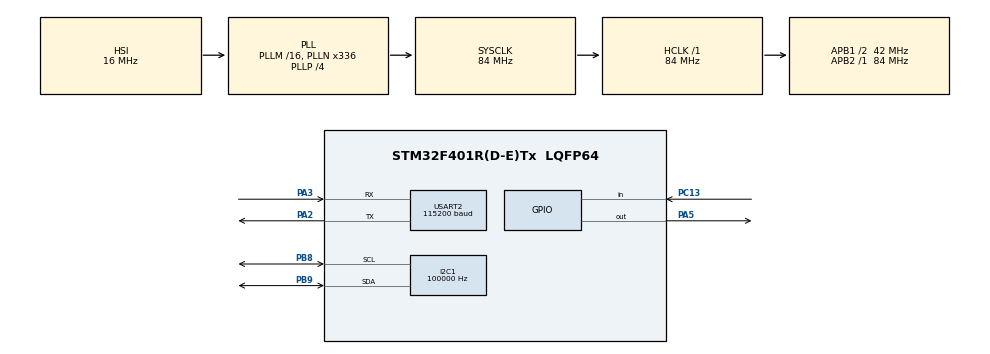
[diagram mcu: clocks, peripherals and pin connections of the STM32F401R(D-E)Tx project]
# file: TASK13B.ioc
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Mcu.Family=STM32F4
Mcu.Name=STM32F401R(D-E)Tx
Mcu.Package=LQFP64
I2C1.ClockSpeed=100000
I2C1.DutyCycle=I2C_DUTYCYCLE_2
I2C1.AddressingMode=I2C_ADDRESSINGMODE_7BIT
NVIC.I2C1_EV_IRQn=true:0:0:false:false:true:true:true:true
NVIC.USART2_IRQn=true:1:0:false:false:true:true:true:true
PA2.Mode=Asynchronous
PA2.Signal=USART2_TX
PA3.Mode=Asynchronous
PA3.Signal=USART2_RX
PA5.Signal=GPIO_Output
PB8.Mode=I2C
PB8.Signal=I2C1_SCL
PB9.Mode=I2C
PB9.Signal=I2C1_SDA
PC13.Signal=GPIO_Input
PC13.GPIO_PuPd=GPIO_PULLUP
ProjectManager.TargetToolchain=MDK-ARM V5.32
RCC.AHBFreq_Value=84000000
RCC.APB1Freq_Value=42000000
RCC.APB2Freq_Value=84000000
RCC.CortexFreq_Value=84000000
RCC.HCLKFreq_Value=84000000
RCC.SYSCLKFreq_VALUE=84000000
RCC.SYSCLKSource=RCC_SYSCLKSOURCE_PLLCLK
USART2.BaudRate=115200
board=custom

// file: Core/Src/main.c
/* USER CODE BEGIN Header */
/**
  ******************************************************************************
  * @file           : main.c
  * @brief          : CAT 12 - TASK 12B: Dynamic JSON Payload Generation
  * Target Device   : STM32F401RET6 (NUCLEO-F401RE, ARM Cortex-M4 @ 84 MHz)
  * Pin Map         : PB8 -> I2C1 SCL, PB9 -> I2C1 SDA
  *                   PA2 -> USART2 TX (PC ST-LINK @ 115200)
  *                   PA5 -> Onboard Green LED LD2
  ******************************************************************************
  */
/* USER CODE END Header */
#include "main.h"

/* USER CODE BEGIN Includes */
#include <stdio.h>
#include <string.h>
#include <stdbool.h>
/* USER CODE END Includes */

/* USER CODE BEGIN PD */
#define BME280_I2C_ADDR (0x76 << 1)
/* USER CODE END PD */

I2C_HandleTypeDef hi2c1;
UART_HandleTypeDef huart2;

/* USER CODE BEGIN PV */
uint8_t chip_id = 0;
float temperature = 24.50f;
float humidity = 60.20f;
float pressure = 1013.25f;
uint32_t last_telemetry_tick = 0;
char json_body[256];
char http_header[256];
char id_msg[64];
/* USER CODE END PV */

void SystemClock_Config(void);
static void MX_GPIO_Init(void);
static void MX_I2C1_Init(void);
static void MX_USART2_UART_Init(void);

int main(void)
{
  /* USER CODE BEGIN 1 */
  char *banner = "\r\n=== NUCLEO-F401RE JSON Payload & HTTP Header Generator ===\r\n";
  uint32_t now = 0;
  int content_len = 0;
  /* USER CODE END 1 */

  /* MCU Configuration--------------------------------------------------------*/

  /* Reset of all peripherals, Initializes the Flash interface and the Systick. */
  HAL_Init();

  /* Configure the system clock */
  SystemClock_Config();

  /* Initialize all configured peripherals */
  MX_GPIO_Init();
  MX_I2C1_Init();
  MX_USART2_UART_Init();
  /* USER CODE BEGIN 2 */
  HAL_UART_Transmit(&huart2, (uint8_t *)banner, strlen(banner), HAL_MAX_DELAY);

  HAL_I2C_Mem_Read(&hi2c1, BME280_I2C_ADDR, 0xD0, I2C_MEMADD_SIZE_8BIT, &chip_id, 1, 100);
  snprintf(id_msg, sizeof(id_msg), "[I2C] BME280 Chip ID Read: 0x%02X\r\n", chip_id);
  HAL_UART_Transmit(&huart2, (uint8_t *)id_msg, strlen(id_msg), HAL_MAX_DELAY);
  /* USER CODE END 2 */

  /* Infinite loop */
  /* USER CODE BEGIN WHILE */
  while (1)
  {
    now = HAL_GetTick();
    if (now - last_telemetry_tick >= 2000)
    {
      last_telemetry_tick = now;

      /* Generate Dynamic JSON String */
      snprintf(json_body, sizeof(json_body),
               "{\"device\":\"NUCLEO_F401RE\",\"reg_no\":\"25011102092\",\"temp_c\":%.2f,\"humidity\":%.2f,\"pressure_hpa\":%.2f,\"uptime_ms\":%lu}",
               temperature, humidity, pressure, (unsigned long)now);

      content_len = strlen(json_body);

      /* Print Formatted HTTP Header & Body */
      snprintf(http_header, sizeof(http_header),
               "[HTTP FORMAT] Content-Length: %d bytes\r\nPayload: %s\r\n", content_len, json_body);
      HAL_UART_Transmit(&huart2, (uint8_t *)http_header, strlen(http_header), HAL_MAX_DELAY);
      HAL_GPIO_TogglePin(GPIOA, GPIO_PIN_5);
    }
    /* USER CODE END WHILE */

  }
}

void SystemClock_Config(void)
{
  RCC_OscInitTypeDef RCC_OscInitStruct = {0};
  RCC_ClkInitTypeDef RCC_ClkInitStruct = {0};

  __HAL_RCC_PWR_CLK_ENABLE();
  __HAL_PWR_VOLTAGESCALING_CONFIG(PWR_REGULATOR_VOLTAGE_SCALE2);

  RCC_OscInitStruct.OscillatorType = RCC_OSCILLATORTYPE_HSI;
  RCC_OscInitStruct.HSIState = RCC_HSI_ON;
  RCC_OscInitStruct.HSICalibrationValue = RCC_HSICALIBRATION_DEFAULT;
  RCC_OscInitStruct.PLL.PLLState = RCC_PLL_ON;
  RCC_OscInitStruct.PLL.PLLSource = RCC_PLLSOURCE_HSI;
  RCC_OscInitStruct.PLL.PLLM = 16;
  RCC_OscInitStruct.PLL.PLLN = 336;
  RCC_OscInitStruct.PLL.PLLP = RCC_PLLP_DIV4;
  RCC_OscInitStruct.PLL.PLLQ = 7;
  if (HAL_RCC_OscConfig(&RCC_OscInitStruct) != HAL_OK)
  {
    Error_Handler();
  }

  RCC_ClkInitStruct.ClockType = RCC_CLOCKTYPE_HCLK|RCC_CLOCKTYPE_SYSCLK
                              |RCC_CLOCKTYPE_PCLK1|RCC_CLOCKTYPE_PCLK2;
  RCC_ClkInitStruct.SYSCLKSource = RCC_SYSCLKSOURCE_PLLCLK;
  RCC_ClkInitStruct.AHBCLKDivider = RCC_SYSCLK_DIV1;
  RCC_ClkInitStruct.APB1CLKDivider = RCC_HCLK_DIV2;
  RCC_ClkInitStruct.APB2CLKDivider = RCC_HCLK_DIV1;

  if (HAL_RCC_ClockConfig(&RCC_ClkInitStruct, FLASH_LATENCY_2) != HAL_OK)
  {
    Error_Handler();
  }
}

static void MX_I2C1_Init(void)
{
  hi2c1.Instance = I2C1;
  hi2c1.Init.ClockSpeed = 100000;
  hi2c1.Init.DutyCycle = I2C_DUTYCYCLE_2;
  hi2c1.Init.OwnAddress1 = 0;
  hi2c1.Init.AddressingMode = I2C_ADDRESSINGMODE_7BIT;
  hi2c1.Init.DualAddressMode = I2C_DUALADDRESS_DISABLE;
  hi2c1.Init.OwnAddress2 = 0;
  hi2c1.Init.GeneralCallMode = I2C_GENERALCALL_DISABLE;
  hi2c1.Init.NoStretchMode = I2C_NOSTRETCH_DISABLE;
  if (HAL_I2C_Init(&hi2c1) != HAL_OK)
  {
    Error_Handler();
  }
}

static void MX_USART2_UART_Init(void)
{
  huart2.Instance = USART2;
  huart2.Init.BaudRate = 115200;
  huart2.Init.WordLength = UART_WORDLENGTH_8B;
  huart2.Init.StopBits = UART_STOPBITS_1;
  huart2.Init.Parity = UART_PARITY_NONE;
  huart2.Init.Mode = UART_MODE_TX_RX;
  huart2.Init.HwFlowCtl = UART_HWCONTROL_NONE;
  huart2.Init.OverSampling = UART_OVERSAMPLING_16;
  if (HAL_UART_Init(&huart2) != HAL_OK)
  {
    Error_Handler();
  }
}

static void MX_GPIO_Init(void)
{
  GPIO_InitTypeDef GPIO_InitStruct = {0};

  /* GPIO Ports Clock Enable */
  __HAL_RCC_GPIOC_CLK_ENABLE();
  __HAL_RCC_GPIOH_CLK_ENABLE();
  __HAL_RCC_GPIOA_CLK_ENABLE();
  __HAL_RCC_GPIOB_CLK_ENABLE();

  /* Configure GPIO pin Output Level */
  HAL_GPIO_WritePin(GPIOA, GPIO_PIN_5, GPIO_PIN_RESET);

  /* Configure GPIO pin : PA5 (LD2 Green LED) */
  GPIO_InitStruct.Pin = GPIO_PIN_5;
  GPIO_InitStruct.Mode = GPIO_MODE_OUTPUT_PP;
  GPIO_InitStruct.Pull = GPIO_NOPULL;
  GPIO_InitStruct.Speed = GPIO_SPEED_FREQ_LOW;
  HAL_GPIO_Init(GPIOA, &GPIO_InitStruct);
}

void Error_Handler(void)
{
  __disable_irq();
  while (1)
  {
  }
}
